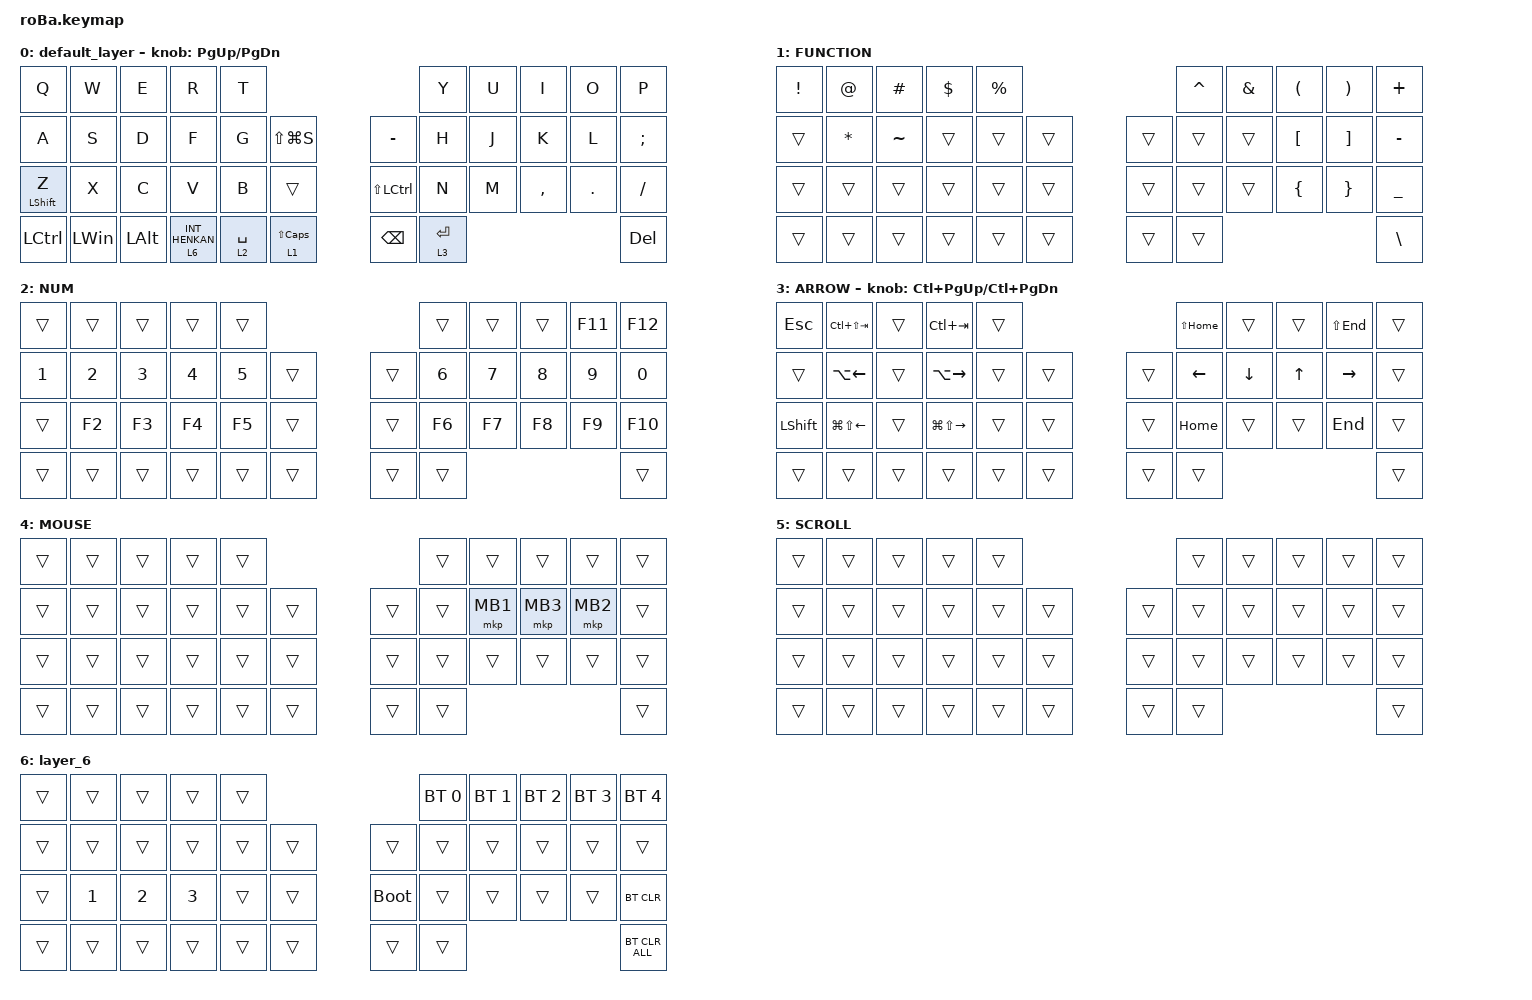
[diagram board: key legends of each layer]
#include <behaviors.dtsi>
#include <dt-bindings/zmk/bt.h>
#include <dt-bindings/zmk/keys.h>
#include <dt-bindings/zmk/pointing.h>

&mt {
    flavor = "balanced";
    quick-tap-ms = <0>;
};

&trackball {
    automouse-layer = <4>;
    scroll-layers = <5>;

    // arrows {
    //     layers = <3>;
    //     bindings =
    //         <&kp RIGHT_ARROW>,
    //         <&kp LEFT_ARROW>,
    //         <&kp UP_ARROW>,
    //         <&kp DOWN_ARROW>;
    //     tick = <10>;
    //     wait-ms = <5>;
    //     tap-ms = <5>;
    // };
};

/ {
    combos {
        compatible = "zmk,combos";

        tab {
            bindings = <&kp TAB>;
            key-positions = <11 12>;
        };

        shift_tab {
            bindings = <&kp LS(TAB)>;
            key-positions = <12 13>;
        };

        muhennkann {
            bindings = <&kp LS(LCTRL)>;
            key-positions = <11 10>;
        };

        double_quotation {
            bindings = <&kp DOUBLE_QUOTES>;
            key-positions = <30 31>;
        };

        eq {
            bindings = <&kp EQUAL>;
            key-positions = <8 9>;
        };

        g {
            bindings = <&kp GRAVE>;
            key-positions = <6 7>;
        };

        s {
            bindings = <&kp SINGLE_QUOTE>;
            key-positions = <18 19>;
        };

        minsu {
            bindings = <&kp MINUS>;
            key-positions = <20 21>;
        };
    };

    macros {
        to_layer_0: to_layer_0 {
            compatible = "zmk,behavior-macro-one-param";
            #binding-cells = <1>;
            bindings = <&to 0 &macro_param_1to1 &kp MACRO_PLACEHOLDER>;
            label = "TO_LAYER_0";
        };
    };

    behaviors {
        lt_to_layer_0: lt_to_layer_0 {
            compatible = "zmk,behavior-hold-tap";
            label = "LAYER_TAP_TO_0";
            bindings = <&mo>, <&to_layer_0>;

            #binding-cells = <2>;
            tapping-term-ms = <200>;
        };
    };

    keymap {
        compatible = "zmk,keymap";

        default_layer {
            bindings = <
&kp Q             &kp W         &kp E         &kp R                        &kp T                                                          &kp Y        &kp U  &kp I      &kp O    &kp P
&kp A             &kp S         &kp D         &kp F                        &kp G        &kp LS(LG(S))                      &kp MINUS      &kp H        &kp J  &kp K      &kp L    &kp SEMI
&mt LEFT_SHIFT Z  &kp X         &kp C         &kp V                        &kp B        &trans                             &kp LS(LCTRL)  &kp N        &kp M  &kp COMMA  &kp DOT  &kp SLASH
&kp LCTRL         &kp LEFT_WIN  &kp LEFT_ALT  &lt_to_layer_0 6 INT_HENKAN  &lt 2 SPACE  &lt_to_layer_0 1 LS(CAPSLOCK)      &kp BACKSPACE  &lt 3 ENTER                             &kp DEL
            >;

            sensor-bindings = <&inc_dec_kp PG_UP PAGE_DOWN>;
        };

        FUNCTION {
            bindings = <
&kp EXCLAMATION  &kp AT_SIGN  &kp HASH   &kp DOLLAR  &kp PERCENT                      &kp CARET  &kp AMPERSAND  &kp LEFT_PARENTHESIS  &kp RIGHT_PARENTHESIS  &kp PLUS
&trans           &kp STAR     &kp TILDE  &trans      &trans       &trans      &trans  &trans     &trans         &kp LEFT_BRACKET      &kp RIGHT_BRACKET      &kp MINUS
&trans           &trans       &trans     &trans      &trans       &trans      &trans  &trans     &trans         &kp LEFT_BRACE        &kp RIGHT_BRACE        &kp UNDER
&trans           &trans       &trans     &trans      &trans       &trans      &trans  &trans                                                                 &kp BACKSLASH
            >;
        };

        NUM {
            bindings = <
&trans        &trans        &trans        &trans        &trans                            &trans        &trans        &trans        &kp F11       &kp F12
&kp NUMBER_1  &kp NUMBER_2  &kp NUMBER_3  &kp NUMBER_4  &kp NUMBER_5  &trans      &trans  &kp NUMBER_6  &kp NUMBER_7  &kp NUMBER_8  &kp NUMBER_9  &kp NUMBER_0
&trans        &kp F2        &kp F3        &kp F4        &kp F5        &trans      &trans  &kp F6        &kp F7        &kp F8        &kp F9        &kp F10
&trans        &trans        &trans        &trans        &trans        &trans      &trans  &trans                                                  &trans
            >;
        };

        ARROW {
            bindings = <
&kp ESCAPE      &kp LC(LS(TAB))         &trans  &kp LC(TAB)              &trans                      &kp LS(HOME)  &trans          &trans        &kp LS(END)      &trans
&trans          &kp LA(LEFT_ARROW)      &trans  &kp LA(RIGHT_ARROW)      &trans  &trans      &trans  &kp LEFT      &kp DOWN_ARROW  &kp UP_ARROW  &kp RIGHT_ARROW  &trans
&kp LEFT_SHIFT  &kp LG(LS(LEFT_ARROW))  &trans  &kp LG(LS(RIGHT_ARROW))  &trans  &trans      &trans  &kp HOME      &trans          &trans        &kp END          &trans
&trans          &trans                  &trans  &trans                   &trans  &trans      &trans  &trans                                                       &trans
            >;

            sensor-bindings = <&inc_dec_kp LC(PAGE_UP) LC(PAGE_DOWN)>;
        };

        MOUSE {
            bindings = <
&trans  &trans  &trans  &trans  &trans                      &trans  &trans    &trans    &trans    &trans
&trans  &trans  &trans  &trans  &trans  &trans      &trans  &trans  &mkp MB1  &mkp MB3  &mkp MB2  &trans
&trans  &trans  &trans  &trans  &trans  &trans      &trans  &trans  &trans    &trans    &trans    &trans
&trans  &trans  &trans  &trans  &trans  &trans      &trans  &trans                                &trans
            >;
        };

        SCROLL {
            bindings = <
&trans  &trans  &trans  &trans  &trans                      &trans  &trans  &trans  &trans  &trans
&trans  &trans  &trans  &trans  &trans  &trans      &trans  &trans  &trans  &trans  &trans  &trans
&trans  &trans  &trans  &trans  &trans  &trans      &trans  &trans  &trans  &trans  &trans  &trans
&trans  &trans  &trans  &trans  &trans  &trans      &trans  &trans                          &trans
            >;
        };

        layer_6 {
            bindings = <
&trans  &trans        &trans        &trans        &trans                           &bt BT_SEL 0  &bt BT_SEL 1  &bt BT_SEL 2  &bt BT_SEL 3  &bt BT_SEL 4
&trans  &trans        &trans        &trans        &trans  &trans      &trans       &trans        &trans        &trans        &trans        &trans
&trans  &kp NUMBER_1  &kp NUMBER_2  &kp NUMBER_3  &trans  &trans      &bootloader  &trans        &trans        &trans        &trans        &bt BT_CLR
&trans  &trans        &trans        &trans        &trans  &trans      &trans       &trans                                                  &bt BT_CLR_ALL
            >;
        };
    };
};
